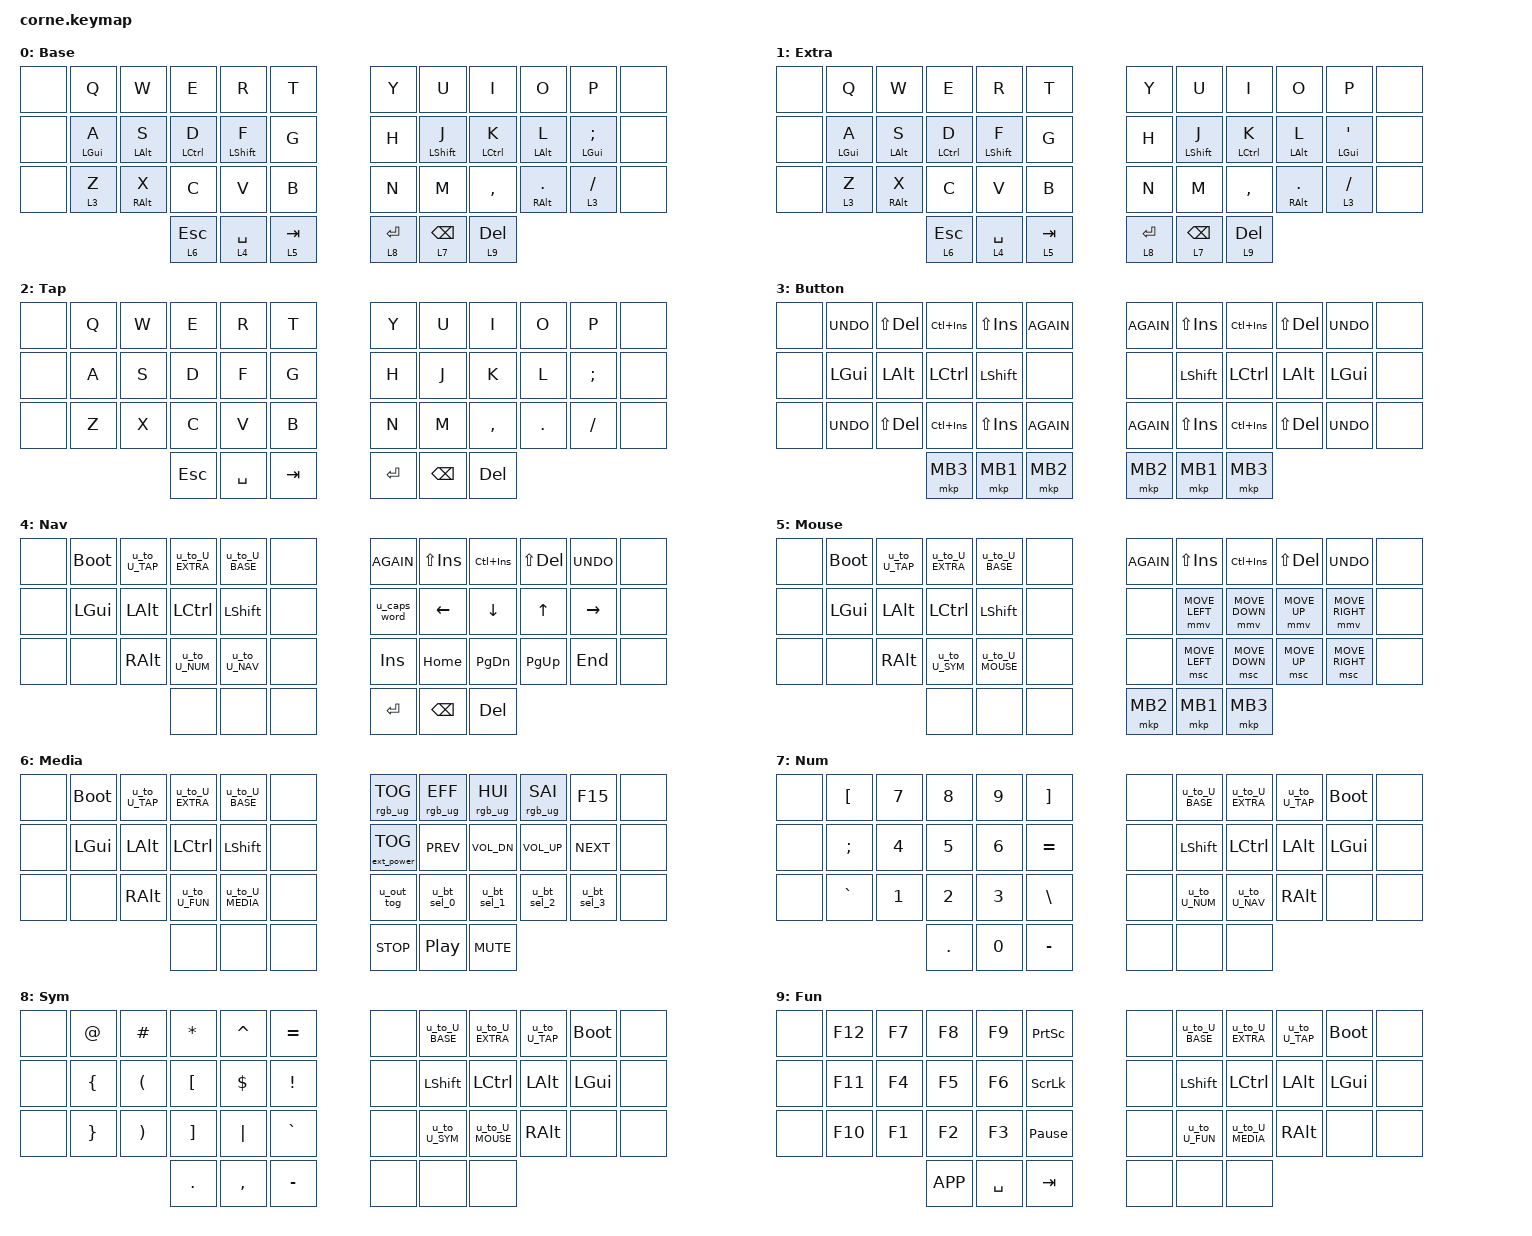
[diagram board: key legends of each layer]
#include <behaviors/mouse_key_press.dtsi>
#include <behaviors/mouse_keys.dtsi>
#include <behaviors.dtsi>
#include <dt-bindings/zmk/bt.h>
#include <dt-bindings/zmk/ext_power.h>
#include <dt-bindings/zmk/keys.h>
#include <dt-bindings/zmk/mouse.h>
#include <dt-bindings/zmk/outputs.h>
#include <dt-bindings/zmk/rgb.h>

/ {
    keymap {
        compatible = "zmk,keymap";

        BASE {
            display-name = "Base";
            bindings = <
&none  &kp Q         &kp W         &kp E          &kp R          &kp T          &kp Y        &kp U          &kp I          &kp O           &kp P        &none
&none  &u_mt LGUI A  &u_mt LALT S  &u_mt LCTRL D  &u_mt LSHFT F  &kp G          &kp H        &u_mt LSHFT J  &u_mt LCTRL K  &u_mt LALT L    &u_mt LGUI SEMI   &none
&none  &u_lt 3 Z     &u_mt RALT X  &kp C          &kp V          &kp B          &kp N        &kp M          &kp COMMA      &u_mt RALT DOT  &u_lt 3 SLASH  &none
                                   &u_lt 6 ESC    &u_lt 4 SPACE  &u_lt 5 TAB    &u_lt 8 RET  &u_lt 7 BSPC   &u_lt 9 DEL
            >;
        };

        EXTRA {
            display-name = "Extra";
            bindings = <
&none  &kp Q         &kp W         &kp E          &kp R          &kp T          &kp Y        &kp U          &kp I          &kp O           &kp P           &none
&none  &u_mt LGUI A  &u_mt LALT S  &u_mt LCTRL D  &u_mt LSHFT F  &kp G          &kp H        &u_mt LSHFT J  &u_mt LCTRL K  &u_mt LALT L    &u_mt LGUI SQT  &none
&none  &u_lt 3 Z     &u_mt RALT X  &kp C          &kp V          &kp B          &kp N        &kp M          &kp COMMA      &u_mt RALT DOT  &u_lt 3 SLASH   &none
                                   &u_lt 6 ESC    &u_lt 4 SPACE  &u_lt 5 TAB    &u_lt 8 RET  &u_lt 7 BSPC   &u_lt 9 DEL
            >;
        };

        TAP {
            display-name = "Tap";
            bindings = <
&none  &kp Q  &kp W  &kp E    &kp R      &kp T      &kp Y    &kp U     &kp I      &kp O    &kp P    &none
&none  &kp A  &kp S  &kp D    &kp F      &kp G      &kp H    &kp J     &kp K      &kp L    &kp SEMI      &none
&none  &kp Z  &kp X  &kp C    &kp V      &kp B      &kp N    &kp M     &kp COMMA  &kp DOT  &kp SLASH  &none
                     &kp ESC  &kp SPACE  &kp TAB    &kp RET  &kp BSPC  &kp DEL
            >;
        };

        BUTTON {
            display-name = "Button";
            bindings = <
&none  &kp K_UNDO  &kp LS(DEL)  &kp LC(INS)  &kp LS(INS)  &kp K_AGAIN    &kp K_AGAIN  &kp LS(INS)  &kp LC(INS)  &kp LS(DEL)  &kp K_UNDO  &none
&none  &kp LGUI    &kp LALT     &kp LCTRL    &kp LSHFT    &none          &none        &kp LSHFT    &kp LCTRL    &kp LALT     &kp LGUI    &none
&none  &kp K_UNDO  &kp LS(DEL)  &kp LC(INS)  &kp LS(INS)  &kp K_AGAIN    &kp K_AGAIN  &kp LS(INS)  &kp LC(INS)  &kp LS(DEL)  &kp K_UNDO  &none
                                &mkp MB3     &mkp MB1     &mkp MB2       &mkp MB2     &mkp MB1     &mkp MB3
            >;
        };

        NAV {
            display-name = "Nav";
            bindings = <
&none  &bootloader  &u_to_U_TAP  &u_to_U_EXTRA  &u_to_U_BASE  &none    &kp K_AGAIN   &kp LS(INS)  &kp LC(INS)  &kp LS(DEL)  &kp K_UNDO  &none
&none  &kp LGUI     &kp LALT     &kp LCTRL      &kp LSHFT     &none    &u_caps_word  &kp LEFT     &kp DOWN     &kp UP       &kp RIGHT   &none
&none  &none        &kp RALT     &u_to_U_NUM    &u_to_U_NAV   &none    &kp INS       &kp HOME     &kp PG_DN    &kp PG_UP    &kp END     &none
                                 &none          &none         &none    &kp RET       &kp BSPC     &kp DEL
            >;
        };

        MOUSE {
            display-name = "Mouse";
            bindings = <
&none  &bootloader  &u_to_U_TAP  &u_to_U_EXTRA  &u_to_U_BASE   &none    &kp K_AGAIN  &kp LS(INS)     &kp LC(INS)     &kp LS(DEL)   &kp K_UNDO       &none
&none  &kp LGUI     &kp LALT     &kp LCTRL      &kp LSHFT      &none    &none        &mmv MOVE_LEFT  &mmv MOVE_DOWN  &mmv MOVE_UP  &mmv MOVE_RIGHT  &none
&none  &none        &kp RALT     &u_to_U_SYM    &u_to_U_MOUSE  &none    &none        &msc MOVE_LEFT  &msc MOVE_DOWN  &msc MOVE_UP  &msc MOVE_RIGHT  &none
                                 &none          &none          &none    &mkp MB2     &mkp MB1        &mkp MB3
            >;
        };

        MEDIA {
            display-name = "Media";
            bindings = <
&none  &bootloader  &u_to_U_TAP  &u_to_U_EXTRA  &u_to_U_BASE   &none    &rgb_ug RGB_TOG    &rgb_ug RGB_EFF  &rgb_ug RGB_HUI  &rgb_ug RGB_SAI  &kp F15      &none
&none  &kp LGUI     &kp LALT     &kp LCTRL      &kp LSHFT      &none    &ext_power EP_TOG  &kp C_PREV       &kp C_VOL_DN     &kp C_VOL_UP     &kp C_NEXT   &none
&none  &none        &kp RALT     &u_to_U_FUN    &u_to_U_MEDIA  &none    &u_out_tog         &u_bt_sel_0      &u_bt_sel_1      &u_bt_sel_2      &u_bt_sel_3  &none
                                 &none          &none          &none    &kp C_STOP         &kp C_PP         &kp C_MUTE
            >;
        };

        NUM {
            display-name = "Num";
            bindings = <
&none  &kp LBKT   &kp N7  &kp N8   &kp N9  &kp RBKT     &none  &u_to_U_BASE  &u_to_U_EXTRA  &u_to_U_TAP  &bootloader  &none
&none  &kp SEMI   &kp N4  &kp N5   &kp N6  &kp EQUAL    &none  &kp LSHFT     &kp LCTRL      &kp LALT     &kp LGUI     &none
&none  &kp GRAVE  &kp N1  &kp N2   &kp N3  &kp BSLH     &none  &u_to_U_NUM   &u_to_U_NAV    &kp RALT     &none        &none
                          &kp DOT  &kp N0  &kp MINUS    &none  &none         &none
            >;
        };

        SYM {
            display-name = "Sym";
            bindings = <
&none  &kp AT    &kp HASH  &kp ASTRK  &kp CARET  &kp EQUAL    &none  &u_to_U_BASE  &u_to_U_EXTRA  &u_to_U_TAP  &bootloader  &none
&none  &kp LBRC  &kp LPAR  &kp LBKT   &kp DLLR   &kp EXCL     &none  &kp LSHFT     &kp LCTRL      &kp LALT     &kp LGUI     &none
&none  &kp RBRC  &kp RPAR  &kp RBKT   &kp PIPE   &kp GRAVE    &none  &u_to_U_SYM   &u_to_U_MOUSE  &kp RALT     &none        &none
                           &kp DOT    &kp COMMA  &kp MINUS    &none  &none         &none
            >;
        };

        FUN {
            display-name = "Fun";
            bindings = <
&none  &kp F12  &kp F7  &kp F8     &kp F9     &kp PSCRN          &none  &u_to_U_BASE  &u_to_U_EXTRA  &u_to_U_TAP  &bootloader  &none
&none  &kp F11  &kp F4  &kp F5     &kp F6     &kp SLCK           &none  &kp LSHFT     &kp LCTRL      &kp LALT     &kp LGUI     &none
&none  &kp F10  &kp F1  &kp F2     &kp F3     &kp PAUSE_BREAK    &none  &u_to_U_FUN   &u_to_U_MEDIA  &kp RALT     &none        &none
                        &kp K_APP  &kp SPACE  &kp TAB            &none  &none         &none
            >;
        };
    };
};

/ {
    macros {
        u_macro_u_bt_sel_0: u_macro_u_bt_sel_0 {
            compatible = "zmk,behavior-macro";
            #binding-cells = <0>;
            wait-ms = <0>;
            bindings = <&bt BT_SEL 0 &bt BT_CLR>;
        };
    };
};

/ {
    behaviors {
        u_bt_sel_0: u_bt_sel_0 {
            compatible = "zmk,behavior-mod-morph";
            #binding-cells = <0>;
            bindings = <&bt BT_SEL 0>, <&u_macro_u_bt_sel_0>;

            mods = <(MOD_LSFT|MOD_RSFT)>;
        };
    };
};

/ {
    macros {
        u_macro_u_bt_sel_1: u_macro_u_bt_sel_1 {
            compatible = "zmk,behavior-macro";
            #binding-cells = <0>;
            wait-ms = <0>;
            bindings = <&bt BT_SEL 1 &bt BT_CLR>;
        };
    };
};

/ {
    behaviors {
        u_bt_sel_1: u_bt_sel_1 {
            compatible = "zmk,behavior-mod-morph";
            #binding-cells = <0>;
            bindings = <&bt BT_SEL 1>, <&u_macro_u_bt_sel_1>;

            mods = <(MOD_LSFT|MOD_RSFT)>;
        };
    };
};

/ {
    macros {
        u_macro_u_bt_sel_2: u_macro_u_bt_sel_2 {
            compatible = "zmk,behavior-macro";
            #binding-cells = <0>;
            wait-ms = <0>;
            bindings = <&bt BT_SEL 2 &bt BT_CLR>;
        };
    };
};

/ {
    behaviors {
        u_bt_sel_2: u_bt_sel_2 {
            compatible = "zmk,behavior-mod-morph";
            #binding-cells = <0>;
            bindings = <&bt BT_SEL 2>, <&u_macro_u_bt_sel_2>;

            mods = <(MOD_LSFT|MOD_RSFT)>;
        };
    };
};

/ {
    macros {
        u_macro_u_bt_sel_3: u_macro_u_bt_sel_3 {
            compatible = "zmk,behavior-macro";
            #binding-cells = <0>;
            wait-ms = <0>;
            bindings = <&bt BT_SEL 3 &bt BT_CLR>;
        };
    };
};

/ {
    behaviors {
        u_bt_sel_3: u_bt_sel_3 {
            compatible = "zmk,behavior-mod-morph";
            #binding-cells = <0>;
            bindings = <&bt BT_SEL 3>, <&u_macro_u_bt_sel_3>;

            mods = <(MOD_LSFT|MOD_RSFT)>;
        };
    };
};

/ {
    macros {
        u_macro_u_bt_sel_4: u_macro_u_bt_sel_4 {
            compatible = "zmk,behavior-macro";
            #binding-cells = <0>;
            wait-ms = <0>;
            bindings = <&bt BT_SEL 4 &bt BT_CLR>;
        };
    };
};

/ {
    behaviors {
        u_bt_sel_4: u_bt_sel_4 {
            compatible = "zmk,behavior-mod-morph";
            #binding-cells = <0>;
            bindings = <&bt BT_SEL 4>, <&u_macro_u_bt_sel_4>;

            mods = <(MOD_LSFT|MOD_RSFT)>;
        };
    };
};

/ {
    behaviors {
        u_out_tog: u_out_tog {
            compatible = "zmk,behavior-mod-morph";
            #binding-cells = <0>;
            bindings = <&out OUT_TOG>, <&out OUT_USB>;

            mods = <(MOD_LSFT|MOD_RSFT)>;
        };
    };
};

/ {
    behaviors {
        u_caps_word: u_caps_word {
            compatible = "zmk,behavior-mod-morph";
            #binding-cells = <0>;
            bindings = <&caps_word>, <&kp CAPS>;

            mods = <(MOD_LSFT|MOD_RSFT)>;
        };
    };
};

/ {
    behaviors {
        u_to_U_BASE: u_to_U_BASE {
            compatible = "zmk,behavior-tap-dance";
            #binding-cells = <0>;
            tapping-term-ms = <200>;
            bindings = <&none>, <&to 0>;
        };
    };
};

/ {
    behaviors {
        u_to_U_EXTRA: u_to_U_EXTRA {
            compatible = "zmk,behavior-tap-dance";
            #binding-cells = <0>;
            tapping-term-ms = <200>;
            bindings = <&none>, <&to 1>;
        };
    };
};

/ {
    behaviors {
        u_to_U_TAP: u_to_U_TAP {
            compatible = "zmk,behavior-tap-dance";
            #binding-cells = <0>;
            tapping-term-ms = <200>;
            bindings = <&none>, <&to 2>;
        };
    };
};

/ {
    behaviors {
        u_to_U_BUTTON: u_to_U_BUTTON {
            compatible = "zmk,behavior-tap-dance";
            #binding-cells = <0>;
            tapping-term-ms = <200>;
            bindings = <&none>, <&to 3>;
        };
    };
};

/ {
    behaviors {
        u_to_U_NAV: u_to_U_NAV {
            compatible = "zmk,behavior-tap-dance";
            #binding-cells = <0>;
            tapping-term-ms = <200>;
            bindings = <&none>, <&to 4>;
        };
    };
};

/ {
    behaviors {
        u_to_U_MOUSE: u_to_U_MOUSE {
            compatible = "zmk,behavior-tap-dance";
            #binding-cells = <0>;
            tapping-term-ms = <200>;
            bindings = <&none>, <&to 5>;
        };
    };
};

/ {
    behaviors {
        u_to_U_MEDIA: u_to_U_MEDIA {
            compatible = "zmk,behavior-tap-dance";
            #binding-cells = <0>;
            tapping-term-ms = <200>;
            bindings = <&none>, <&to 6>;
        };
    };
};

/ {
    behaviors {
        u_to_U_NUM: u_to_U_NUM {
            compatible = "zmk,behavior-tap-dance";
            #binding-cells = <0>;
            tapping-term-ms = <200>;
            bindings = <&none>, <&to 7>;
        };
    };
};

/ {
    behaviors {
        u_to_U_SYM: u_to_U_SYM {
            compatible = "zmk,behavior-tap-dance";
            #binding-cells = <0>;
            tapping-term-ms = <200>;
            bindings = <&none>, <&to 8>;
        };
    };
};

/ {
    behaviors {
        u_to_U_FUN: u_to_U_FUN {
            compatible = "zmk,behavior-tap-dance";
            #binding-cells = <0>;
            tapping-term-ms = <200>;
            bindings = <&none>, <&to 9>;
        };
    };
};

/ {
    macros {
        u_macro_btn1: u_macro_btn1 {
            compatible = "zmk,behavior-macro";
            #binding-cells = <0>;
            wait-ms = <0>;
            bindings = <&kp KP_SLASH &kp KP_N5>;
        };
    };
};

/ {
    macros {
        u_macro_btn2: u_macro_btn2 {
            compatible = "zmk,behavior-macro";
            #binding-cells = <0>;
            wait-ms = <0>;
            bindings = <&kp KP_MINUS &kp KP_N5>;
        };
    };
};

/ {
    macros {
        u_macro_btn3: u_macro_btn3 {
            compatible = "zmk,behavior-macro";
            #binding-cells = <0>;
            wait-ms = <0>;
            bindings = <&kp KP_ASTERISK &kp KP_N5>;
        };
    };
};

/ {
    behaviors {
        u_mt: u_mt {
            compatible = "zmk,behavior-hold-tap";
            #binding-cells = <2>;
            tapping-term-ms = <200>;
            flavor = "tap-preferred";
            bindings = <&kp>, <&kp>;
        };

        u_lt: u_lt {
            compatible = "zmk,behavior-hold-tap";
            #binding-cells = <2>;
            tapping-term-ms = <200>;
            quick-tap-ms = <200>;
            flavor = "tap-preferred";
            bindings = <&mo>, <&kp>;
        };

        mm_plus: mm_plus {
            compatible = "zmk,behavior-mod-morph";
            label = "MM_PLUS";
            bindings = <&kp PLUS>, <&kp KP_EQUAL>;

            #binding-cells = <0>;
            mods = <(MOD_LSFT|MOD_RSFT)>;
        };
    };
};
